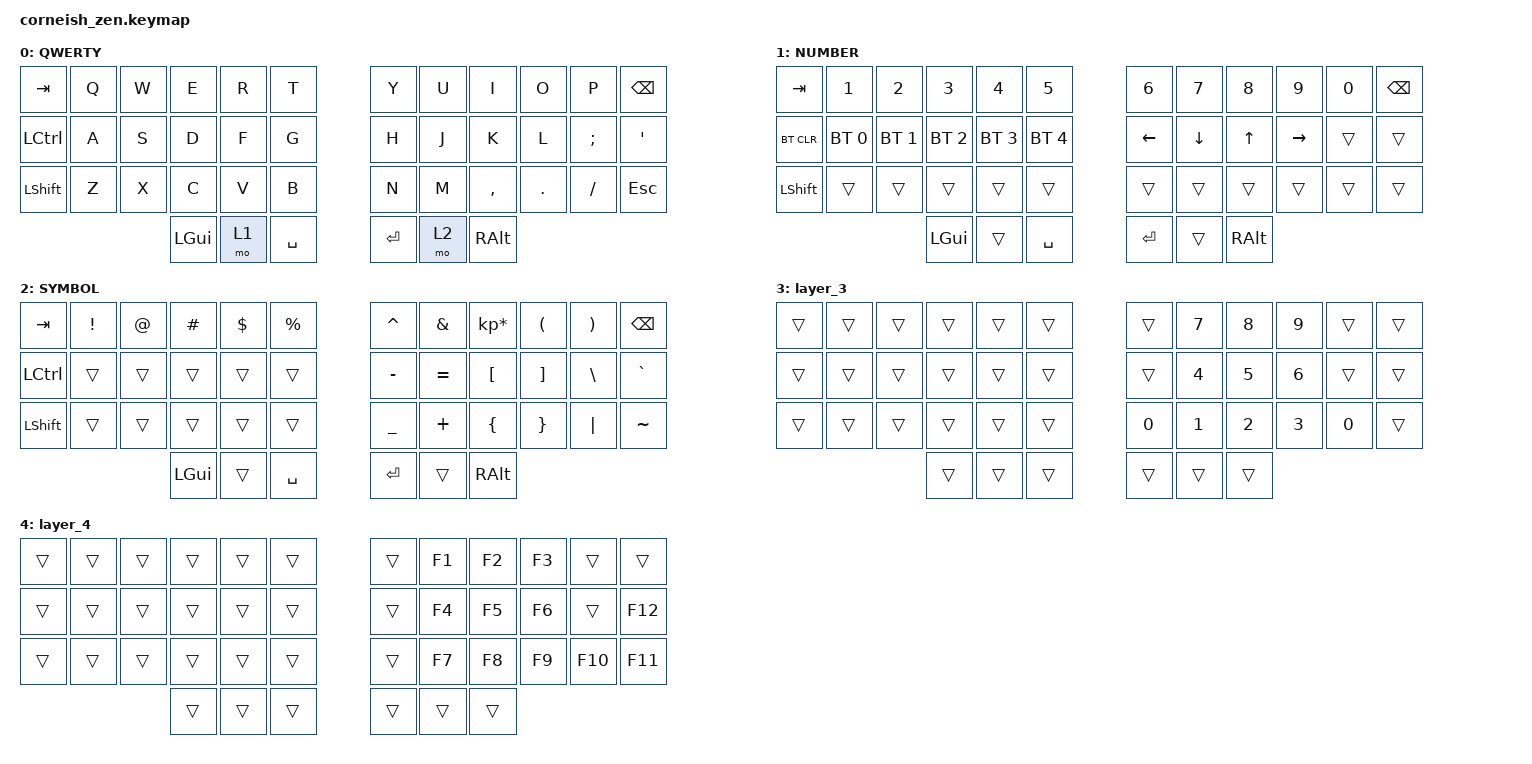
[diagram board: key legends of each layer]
/*
*
* Copyright (c) 2021 Darryl deHaan
* SPDX-License-Identifier: MIT
*
*/

#include <behaviors.dtsi>
#include <dt-bindings/zmk/bt.h>
#include <dt-bindings/zmk/keys.h>

/ {
    chosen {
        zmk,matrix_transform = &default_transform;

        //zmk,matrix_transform = &five_column_transform;
    };
};

/ {
    keymap {
        compatible = "zmk,keymap";

        default_layer {
            label = "QWERTY";

            // -----------------------------------------------------------------------------------------
            // |  TAB |  Q  |  W  |  E  |  R  |  T  |   |  Y  |  U   |  I  |  O  |  P  | BKSP |
            // | CTRL |  A  |  S  |  D  |  F  |  G  |   |  H  |  J   |  K  |  L  |  ;  |  '   |
            // | SHFT |  Z  |  X  |  C  |  V  |  B  |   |  N  |  M   |  ,  |  .  |  /  | ESC  |
            //                    | GUI | LWR | SPC |   | ENT | RSE  | ALT |

            bindings = <
&kp TAB    &kp Q  &kp W  &kp E     &kp R  &kp T        &kp Y    &kp U  &kp I      &kp O    &kp P     &kp BSPC
&kp LCTRL  &kp A  &kp S  &kp D     &kp F  &kp G        &kp H    &kp J  &kp K      &kp L    &kp SEMI  &kp SQT
&kp LSHFT  &kp Z  &kp X  &kp C     &kp V  &kp B        &kp N    &kp M  &kp COMMA  &kp DOT  &kp FSLH  &kp ESC
                         &kp LGUI  &mo 1  &kp SPACE    &kp RET  &mo 2  &kp RALT
            >;
        };

        lower_layer {
            label = "NUMBER";

            // -----------------------------------------------------------------------------------------
            // |  TAB |  1  |  2  |  3  |  4  |  5  |   |  6  |  7  |  8  |  9  |  0  | BKSP |
            // | BTCLR| BT1 | BT2 | BT3 | BT4 | BT5 |   | LFT | DWN |  UP | RGT |     |      |
            // | SHFT |     |     |     |     |     |   |     |     |     |     |     |      |
            //                    | GUI |     | SPC |   | ENT |     | ALT |

            bindings = <
&kp TAB     &kp N1        &kp N2        &kp N3        &kp N4        &kp N5          &kp N6    &kp N7    &kp N8    &kp N9     &kp N0  &kp BSPC
&bt BT_CLR  &bt BT_SEL 0  &bt BT_SEL 1  &bt BT_SEL 2  &bt BT_SEL 3  &bt BT_SEL 4    &kp LEFT  &kp DOWN  &kp UP    &kp RIGHT  &trans  &trans
&kp LSHFT   &trans        &trans        &trans        &trans        &trans          &trans    &trans    &trans    &trans     &trans  &trans
                                        &kp LGUI      &trans        &kp SPACE       &kp RET   &trans    &kp RALT
            >;
        };

        raise_layer {
            label = "SYMBOL";

            // -----------------------------------------------------------------------------------------
            // |  TAB |  !  |  @  |  #  |  $  |  %  |   |  ^  |  &  |  *  |  (  |  )  | BKSP |
            // | CTRL |     |     |     |     |     |   |  -  |  =  |  [  |  ]  |  \  |  `   |
            // | SHFT |     |     |     |     |     |   |  _  |  +  |  {  |  }  | "|" |  ~   |
            //                    | GUI |     | SPC |   | ENT |     | ALT |

            bindings = <
&kp TAB    &kp EXCL  &kp AT  &kp HASH  &kp DLLR  &kp PRCNT    &kp CARET  &kp AMPS   &kp KP_MULTIPLY  &kp LPAR  &kp RPAR  &kp BSPC
&kp LCTRL  &trans    &trans  &trans    &trans    &trans       &kp MINUS  &kp EQUAL  &kp LBKT         &kp RBKT  &kp BSLH  &kp GRAVE
&kp LSHFT  &trans    &trans  &trans    &trans    &trans       &kp UNDER  &kp PLUS   &kp LBRC         &kp RBRC  &kp PIPE  &kp TILDE
                             &kp LGUI  &trans    &kp SPACE    &kp RET    &trans     &kp RALT
            >;
        };

        layer_3 {
            bindings = <
&trans  &trans  &trans  &trans  &trans  &trans    &trans  &kp N7  &kp N8  &kp N9  &trans  &trans
&trans  &trans  &trans  &trans  &trans  &trans    &trans  &kp N4  &kp N5  &kp N6  &trans  &trans
&trans  &trans  &trans  &trans  &trans  &trans    &kp N0  &kp N1  &kp N2  &kp N3  &kp N0  &trans
                        &trans  &trans  &trans    &trans  &trans  &trans
            >;
        };

        layer_4 {
            bindings = <
&trans  &trans  &trans  &trans  &trans  &trans    &trans  &kp F1  &kp F2  &kp F3  &trans   &trans
&trans  &trans  &trans  &trans  &trans  &trans    &trans  &kp F4  &kp F5  &kp F6  &trans   &kp F12
&trans  &trans  &trans  &trans  &trans  &trans    &trans  &kp F7  &kp F8  &kp F9  &kp F10  &kp F11
                        &trans  &trans  &trans    &trans  &trans  &trans
            >;
        };
    };
};
